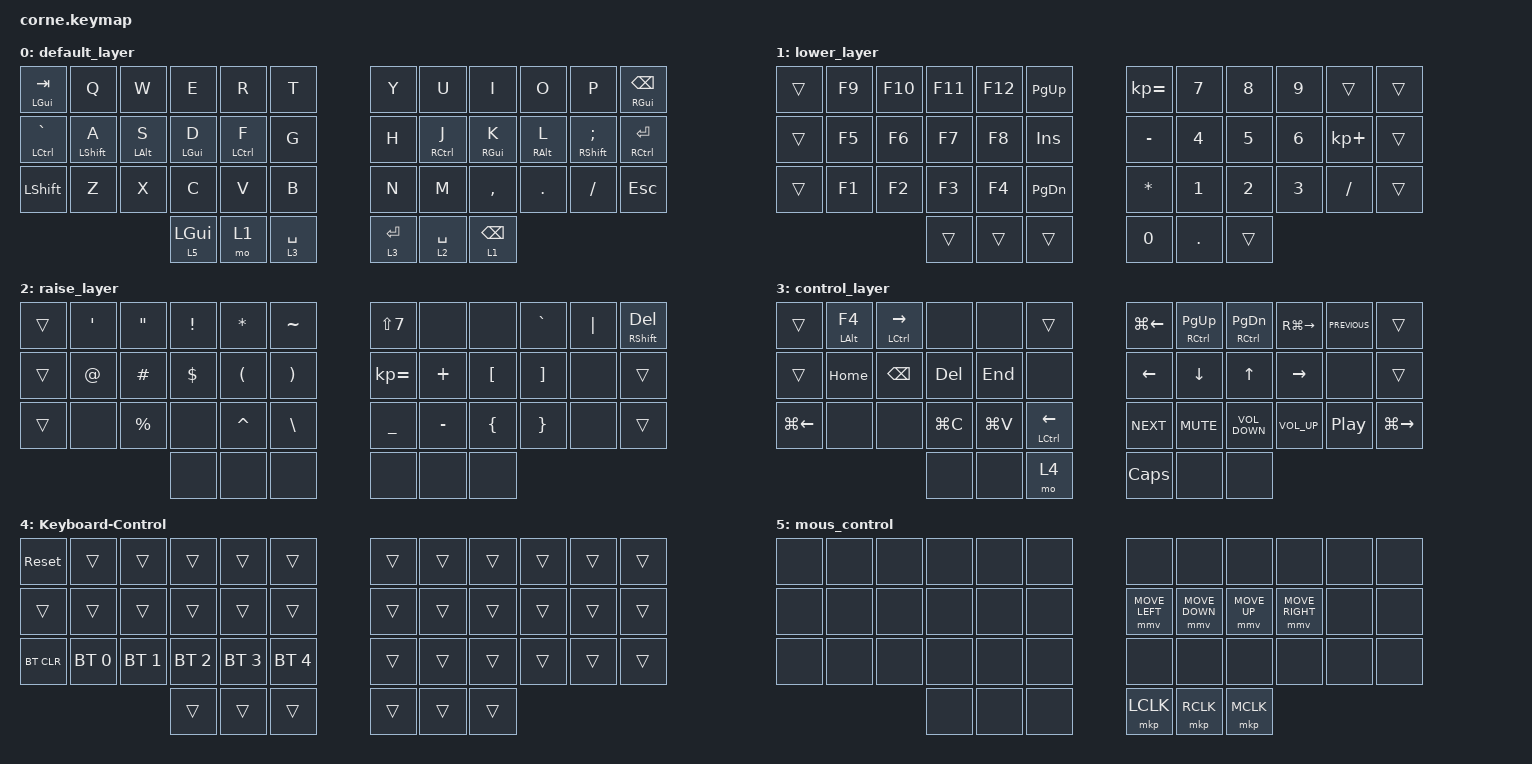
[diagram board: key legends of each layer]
/*
 * Copyright (c) 2020 The ZMK Contributors
 *
 * SPDX-License-Identifier: MIT
 */

#include <behaviors.dtsi>
#include <dt-bindings/zmk/bt.h>
#include <dt-bindings/zmk/keys.h>
#include <dt-bindings/zmk/pointing.h>

#define ZMK_POINTING_DEFAULT_MOVE_VAL 1200  // default: 600
#define ZMK_POINTING_DEFAULT_SCRL_VAL 20

/ {
    behaviors {
        tp: tap_preferred {
            compatible = "zmk,behavior-hold-tap";
            label = "TAP_PREFERRED";
            #binding-cells = <2>;
            tapping-term-ms = <200>;
            quick-tap-ms = <0>;
            flavor = "tap-preferred";
            bindings = <&kp>, <&kp>;
        };

        mtp: mtp {
            compatible = "zmk,behavior-hold-tap";
            label = "MTP";
            #binding-cells = <2>;
            tapping-term-ms = <1000>;
            quick-tap-ms = <0>;
            flavor = "tap-preferred";
            bindings = <&mo>, <&kp>;
        };
    };

    keymap {
        compatible = "zmk,keymap";

        default_layer {
            // -----------------------------------------------------------------------------------------
            // |  TAB |  Q  |  W  |  E  |  R  |  T  |   |  Y  |  U   |  I  |  O  |  P  | BSPC |
            // | CTRL |  A  |  S  |  D  |  F  |  G  |   |  H  |  J   |  K  |  L  |  ;  |  '   |
            // | SHFT |  Z  |  X  |  C  |  V  |  B  |   |  N  |  M   |  ,  |  .  |  /  | ESC  |
            //                    | GUI | LWR | SPC |   | ENT | RSE  | ALT |

            bindings = <
&tp LEFT_GUI TAB  &kp Q         &kp W       &kp E            &kp R        &kp T          &kp Y      &kp U        &kp I            &kp O       &kp P            &tp RGUI BSPC
&tp LCTRL GRAVE   &tp LSHIFT A  &tp LALT S  &tp LGUI D       &tp LCTRL F  &kp G          &kp H      &tp RCTRL J  &tp RGUI K       &tp RALT L  &tp RSHIFT SEMI  &tp RCTRL ENTER
&kp LSHIFT        &kp Z         &kp X       &kp C            &kp V        &kp B          &kp N      &kp M        &kp COMMA        &kp DOT     &kp FSLH         &kp ESC
                                            &mtp 5 LEFT_GUI  &mo 1        &lt 3 SPACE    &lt 3 RET  &lt 2 SPACE  &lt 1 BACKSPACE
            >;
        };

        lower_layer {
            // -----------------------------------------------------------------------------------------
            // |  TAB |  1  |  2  |  3  |  4  |  5  |   |  6  |  7  |  8  |  9  |  0  | BSPC |
            // | BTCLR| BT1 | BT2 | BT3 | BT4 | BT5 |   | LFT | DWN |  UP | RGT |     |      |
            // | SHFT |     |     |     |     |     |   |     |     |     |     |     |      |
            //                    | GUI |     | SPC |   | ENT |     | ALT |

            bindings = <
&trans  &kp F9  &kp F10  &kp F11  &kp F12  &kp PAGE_UP      &kp KP_EQUAL  &kp N7        &kp N8        &kp N9        &trans       &trans
&trans  &kp F5  &kp F6   &kp F7   &kp F8   &kp INSERT       &kp MINUS     &kp NUMBER_4  &kp NUMBER_5  &kp NUMBER_6  &kp KP_PLUS  &trans
&trans  &kp F1  &kp F2   &kp F3   &kp F4   &kp PAGE_DOWN    &kp ASTERISK  &kp NUMBER_1  &kp NUMBER_2  &kp NUMBER_3  &kp SLASH    &trans
                         &trans   &trans   &trans           &kp NUMBER_0  &kp PERIOD    &trans
            >;
        };

        raise_layer {
            // -----------------------------------------------------------------------------------------
            // |  TAB |  !  |  @  |  #  |  $  |  %  |   |  ^  |  &  |  *  |  (  |  )  | BSPC |
            // | CTRL |     |     |     |     |     |   |  -  |  =  |  [  |  ]  |  \  |  `   |
            // | SHFT |     |     |     |     |     |   |  _  |  +  |  {  |  }  | "|" |  ~   |
            //                    | GUI |     | SPC |   | ENT |     | ALT |

            bindings = <
&trans  &kp SQT  &kp DOUBLE_QUOTES  &kp EXCLAMATION  &kp ASTERISK          &kp TILDE                &kp LS(N7)      &none      &none             &kp GRAVE          &kp PIPE  &tp RSHFT DELETE
&trans  &kp AT   &kp HASH           &kp DOLLAR       &kp LEFT_PARENTHESIS  &kp RIGHT_PARENTHESIS    &kp KP_EQUAL    &kp PLUS   &kp LEFT_BRACKET  &kp RIGHT_BRACKET  &none     &trans
&trans  &none    &kp PERCENT        &none            &kp CARET             &kp BSLH                 &kp UNDERSCORE  &kp MINUS  &kp LEFT_BRACE    &kp RIGHT_BRACE    &none     &trans
                                    &none            &none                 &none                    &none           &none      &none
            >;
        };

        control_layer {
            bindings = <
&trans        &tp LALT F4  &tp LCTRL RIGHT  &none       &none      &trans            &kp LG(LEFT_ARROW)  &tp RCTRL PAGE_UP  &tp RCTRL PAGE_DOWN  &kp RG(RIGHT_ARROW)  &kp C_PREVIOUS    &trans
&trans        &kp HOME     &kp BACKSPACE    &kp DELETE  &kp END    &none             &kp LEFT            &kp DOWN           &kp UP_ARROW         &kp RIGHT            &none             &trans
&kp LG(LEFT)  &none        &none            &kp LG(C)   &kp LG(V)  &tp LCTRL LEFT    &kp C_NEXT          &kp C_MUTE         &kp C_VOLUME_DOWN    &kp C_VOLUME_UP      &kp C_PLAY_PAUSE  &kp LG(RIGHT)
                                            &none       &none      &mo 4             &kp CAPSLOCK        &none              &none
            >;
        };

        Keyboard-Control {
            bindings = <
&sys_reset  &trans        &trans        &trans        &trans        &trans          &trans  &trans  &trans  &trans  &trans  &trans
&trans      &trans        &trans        &trans        &trans        &trans          &trans  &trans  &trans  &trans  &trans  &trans
&bt BT_CLR  &bt BT_SEL 0  &bt BT_SEL 1  &bt BT_SEL 2  &bt BT_SEL 3  &bt BT_SEL 4    &trans  &trans  &trans  &trans  &trans  &trans
                                        &trans        &trans        &trans          &trans  &trans  &trans
            >;
        };

        mous_control {
            bindings = <
&none  &none  &none  &none  &none  &none    &none           &none           &none         &none            &none  &none
&none  &none  &none  &none  &none  &none    &mmv MOVE_LEFT  &mmv MOVE_DOWN  &mmv MOVE_UP  &mmv MOVE_RIGHT  &none  &none
&none  &none  &none  &none  &none  &none    &none           &none           &none         &none            &none  &none
                     &none  &none  &none    &mkp LCLK       &mkp RCLK       &mkp MCLK
            >;
        };
    };
};
